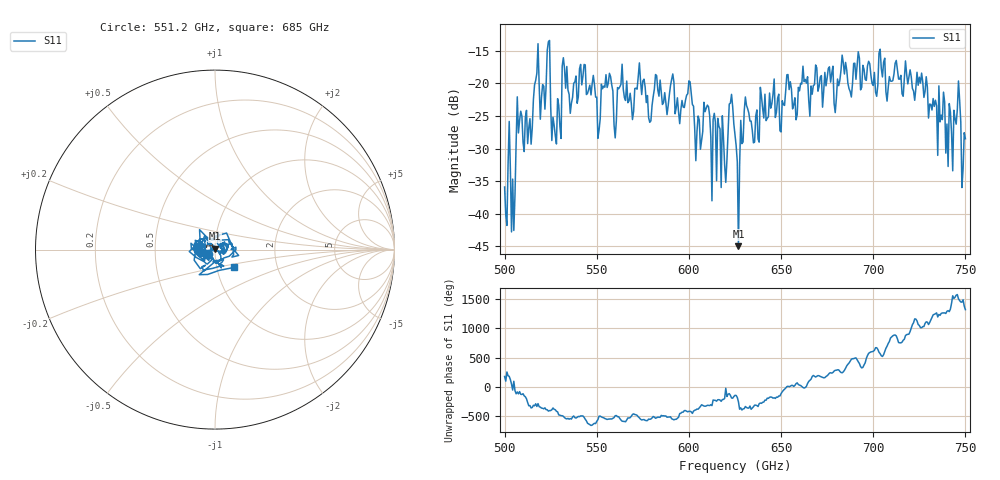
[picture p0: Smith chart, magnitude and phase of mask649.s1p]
!Created with skrf (http://scikit-rf.org).
# GHz S MA R 50.0
!freq magS11 angS11
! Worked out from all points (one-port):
!   401 points, 500 GHz to 750 GHz, reference 50 ohm
!   lowest |S11| = -45.0 dB at 626.9 GHz (marker M1), VSWR 1.01, Z = 49.9 + j0.556 ohm
!   |S11| at or under -10 dB: start of sweep to end of sweep
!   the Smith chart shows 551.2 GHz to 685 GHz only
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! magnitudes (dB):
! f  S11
! 500 GHz  -35.9
! 503.1 GHz  -33.1
! 504.4 GHz  -34.7
! 507.5 GHz  -27.6
! 513.8 GHz  -25.4
! 517.5 GHz  -18.4
! 520.6 GHz  -20.2
! 523.8 GHz  -13.6
! 526.9 GHz  -26.4
! 531.2 GHz  -17.3
! 542.5 GHz  -18.9
! 550.6 GHz  -28.4
! 562.5 GHz  -20.5
! 593.8 GHz  -22.2
! 600 GHz  -19.6
! 605 GHz  -25.0
! 609.4 GHz  -23.8
! 618.8 GHz  -28.4
! 622.5 GHz  -23.0
! 625 GHz  -27.9
! 626.9 GHz  -45.0
! 631.2 GHz  -23.4
! 656.2 GHz  -23.9
! 687.5 GHz  -21.2
! 718.8 GHz  -20.1
! 741.9 GHz  -24.4
! 746.2 GHz  -19.6
! 750 GHz  -28.5
